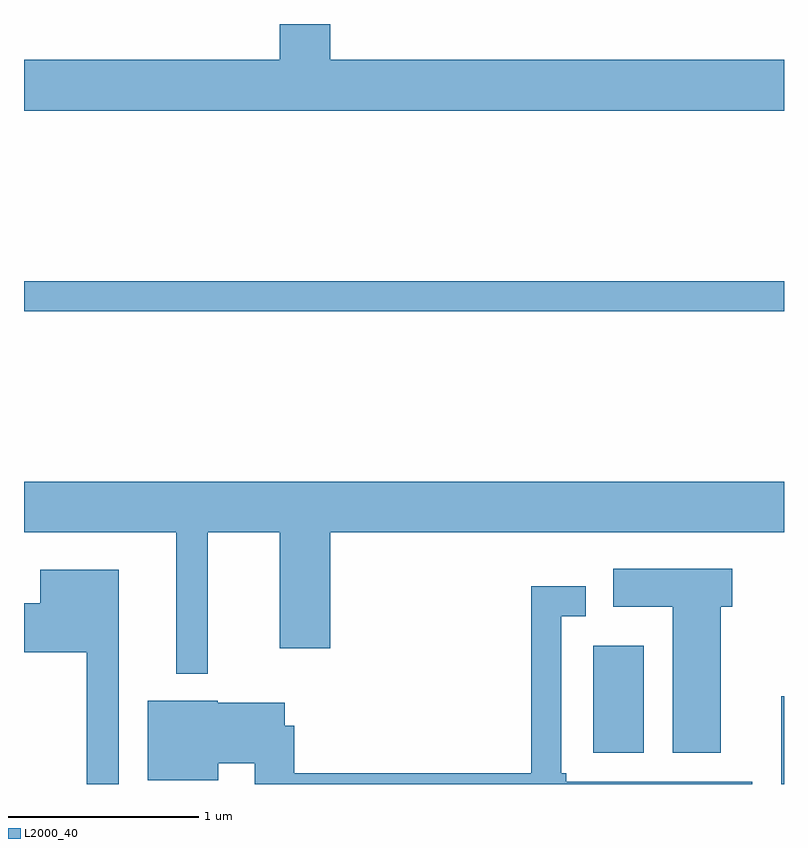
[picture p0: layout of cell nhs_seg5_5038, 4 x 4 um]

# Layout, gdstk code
import gdstk
lib = gdstk.Library(unit=1e-6, precision=1e-09)
def R(c, l, rs):  # rectangles x0, y0, x1, y1
    for r in rs: c.add(gdstk.rectangle(r[:2], r[2:], *l))
def P(c, l, *ps):  # polygons
    for p in ps: c.add(gdstk.Polygon(p, *l))
L2000_40 = (2000, 40)

nhs_seg5_5038 = lib.new_cell('nhs_seg5_5038')
R(nhs_seg5_5038, L2000_40, [(337.596,1522.072,337.611,1522.534), (336.606,1522.236,336.874,1522.799), (333.611,1524.561,337.611,1524.719)])
P(nhs_seg5_5038, L2000_40, [(337.611,1525.884),(335.224,1525.884),(335.224,1526.072),(334.956,1526.072),(334.956,1525.884),(333.611,1525.884),(333.611,1525.616),(337.611,1525.616)],
  [(334.579,1523.396),(334.956,1523.396),(334.956,1522.786),(335.224,1522.786),(335.224,1523.396),(337.611,1523.396),(337.611,1523.664),(333.611,1523.664),(333.611,1523.396),(334.411,1523.396),(334.411,1522.653),(334.579,1522.653)],
  [(337.279,1523.006),(337.339,1523.006),(337.339,1523.204),(336.711,1523.204),(336.711,1523.006),(337.026,1523.006),(337.026,1522.236),(337.279,1522.236)],
  [(334.109,1523.199),(333.696,1523.199),(333.696,1523.024),(333.611,1523.024),(333.611,1522.766),(333.941,1522.766),(333.941,1522.072),(334.109,1522.072)],
  [(337.444,1522.084),(336.464,1522.084),(336.464,1522.129),(336.439,1522.129),(336.439,1522.956),(336.568,1522.956),(336.568,1523.114),(336.281,1523.114),(336.281,1522.129),(335.034,1522.129),(335.034,1522.379),(334.984,1522.379),(334.984,1522.499),(334.63,1522.499),(334.63,1522.509),(334.261,1522.509),(334.261,1522.091),(334.634,1522.091),(334.634,1522.181),(334.826,1522.181),(334.826,1522.072),(337.444,1522.072)])

lib.write_gds('nhs_seg5_5038.gds')
